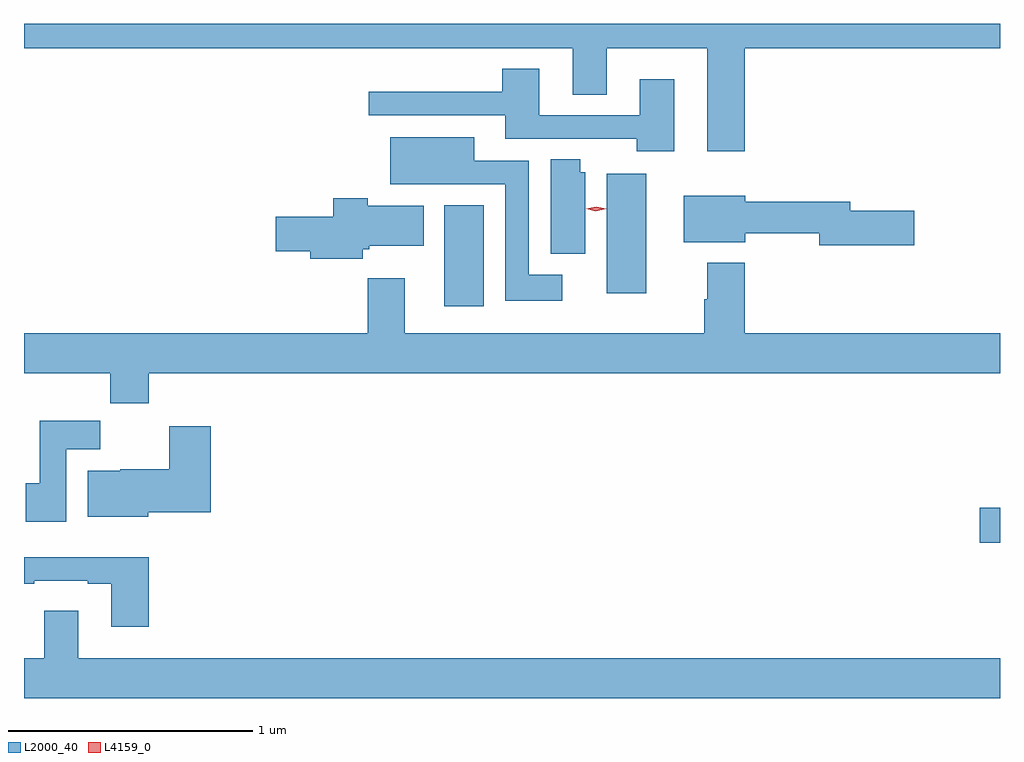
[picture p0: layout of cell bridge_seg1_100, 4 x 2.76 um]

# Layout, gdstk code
import gdstk
lib = gdstk.Library(unit=1e-6, precision=1e-09)
def R(c, l, rs):  # rectangles x0, y0, x1, y1
    for r in rs: c.add(gdstk.rectangle(r[:2], r[2:], *l))
def P(c, l, *ps):  # polygons
    for p in ps: c.add(gdstk.Polygon(p, *l))
L2000_40 = (2000, 40)
L4159_0 = (4159, 0)

bridge_seg1_100 = lib.new_cell('bridge_seg1_100')
R(bridge_seg1_100, L2000_40, [(294.984,581.674,295.067,581.816), (292.79,582.642,292.951,583.057), (293.456,582.696,293.617,583.186)])
P(bridge_seg1_100, L2000_40, [(294.02,583.7),(295.067,583.7),(295.067,583.8),(291.067,583.8),(291.067,583.7),(293.315,583.7),(293.315,583.51),(293.455,583.51),(293.455,583.7),(293.867,583.7),(293.867,583.278),(294.02,583.278)],
  [(293.731,583.573),(293.591,583.573),(293.591,583.425),(293.179,583.425),(293.179,583.615),(293.027,583.615),(293.027,583.522),(292.479,583.522),(292.479,583.425),(293.039,583.425),(293.039,583.329),(293.579,583.329),(293.579,583.278),(293.731,583.278)],
  [(293.272,582.772),(293.136,582.772),(293.136,583.239),(292.912,583.239),(292.912,583.336),(292.568,583.336),(292.568,583.142),(292.794,583.142),(292.794,583.143),(293.04,583.143),(293.04,582.665),(293.272,582.665)],
  [(293.368,583.191),(293.347,583.191),(293.347,583.244),(293.225,583.244),(293.225,582.857),(293.368,582.857)],
  [(294.715,583.034),(294.454,583.034),(294.454,583.07),(294.022,583.07),(294.022,583.096),(293.771,583.096),(293.771,582.905),(294.022,582.905),(294.022,582.942),(294.326,582.942),(294.326,582.892),(294.715,582.892)],
  [(292.456,582.875),(292.482,582.875),(292.482,582.89),(292.705,582.89),(292.705,583.054),(292.476,583.054),(292.476,583.084),(292.334,583.084),(292.334,583.01),(292.098,583.01),(292.098,582.868),(292.241,582.868),(292.241,582.838),(292.456,582.838)],
  [(291.578,582.368),(295.067,582.368),(295.067,582.532),(294.02,582.532),(294.02,582.82),(293.867,582.82),(293.867,582.671),(293.855,582.671),(293.855,582.532),(292.627,582.532),(292.627,582.757),(292.475,582.757),(292.475,582.532),(291.067,582.532),(291.067,582.368),(291.421,582.368),(291.421,582.244),(291.578,582.244)],
  [(291.241,582.056),(291.38,582.056),(291.38,582.174),(291.131,582.174),(291.131,581.916),(291.074,581.916),(291.074,581.76),(291.241,581.76)],
  [(291.576,581.798),(291.833,581.798),(291.833,582.151),(291.662,582.151),(291.662,581.974),(291.462,581.974),(291.462,581.968),(291.329,581.968),(291.329,581.78),(291.576,581.78)],
  [(291.578,581.614),(291.067,581.614),(291.067,581.505),(291.109,581.505),(291.109,581.517),(291.329,581.517),(291.329,581.505),(291.425,581.505),(291.425,581.328),(291.578,581.328)],
  [(295.067,581.2),(291.289,581.2),(291.289,581.395),(291.149,581.395),(291.149,581.2),(291.067,581.2),(291.067,581.036),(295.067,581.036)])
P(bridge_seg1_100, L4159_0, [(293.411,583.031),(293.371,583.042),(293.37,583.042),(293.371,583.042),(293.412,583.051),(293.453,583.041),(293.453,583.041),(293.453,583.041)])

lib.write_gds('bridge_seg1_100.gds')
